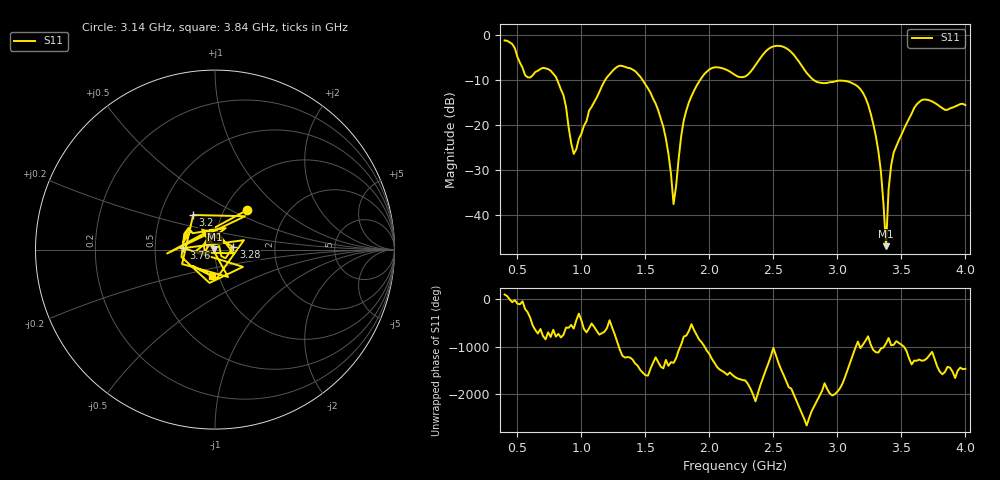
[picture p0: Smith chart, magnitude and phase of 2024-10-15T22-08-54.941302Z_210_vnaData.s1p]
! Created with skrf (http://scikit-rf.org).
# Hz S RI R 50.0
!freq ReS11 ImS11
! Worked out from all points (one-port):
!   181 points, 400 MHz to 4 GHz, reference 50 ohm
!   lowest |S11| = -46.9 dB at 3.38 GHz (marker M1), VSWR 1.01, Z = 49.6 + j0.262 ohm
!   |S11| at or under -10 dB: 810.9 MHz to 1.186 GHz (374.8 MHz wide, 37.5 % of centre); 1.478 GHz to 1.927 GHz (449.3 MHz wide, 26.4 % of centre); 2.816 GHz to end of sweep
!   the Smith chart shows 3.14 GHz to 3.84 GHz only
!   S11 on the Smith chart (normalised r, x): 3.14 GHz: 1.27, +0.60; 3.2 GHz: 0.73, +0.30; 3.28 GHz: 1.23, +0.04; 3.76 GHz: 0.70, +0.01; 3.84 GHz: 0.93, -0.28
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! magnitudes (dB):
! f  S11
! 400 MHz  -1.2
! 560 MHz  -8.9
! 740 MHz  -7.6
! 860 MHz  -13.4
! 940 MHz  -26.4
! 1.3 GHz  -6.8
! 1.58 GHz  -15.2
! 1.66 GHz  -23.0
! 1.72 GHz  -37.6
! 1.76 GHz  -27.4
! 1.82 GHz  -16.7
! 1.94 GHz  -9.5
! 2.2 GHz  -8.9
! 2.5 GHz  -2.5
! 2.66 GHz  -4.4
! 2.84 GHz  -10.4
! 3.1 GHz  -10.5
! 3.14 GHz  -11.0
! 3.2 GHz  -12.8
! 3.28 GHz  -19.7
! 3.34 GHz  -30.3
! 3.38 GHz  -46.9
! 3.4 GHz  -34.2
! 3.42 GHz  -28.9
! 3.56 GHz  -18.6
! 3.76 GHz  -15.1
! 3.84 GHz  -16.6
! 4 GHz  -15.6
